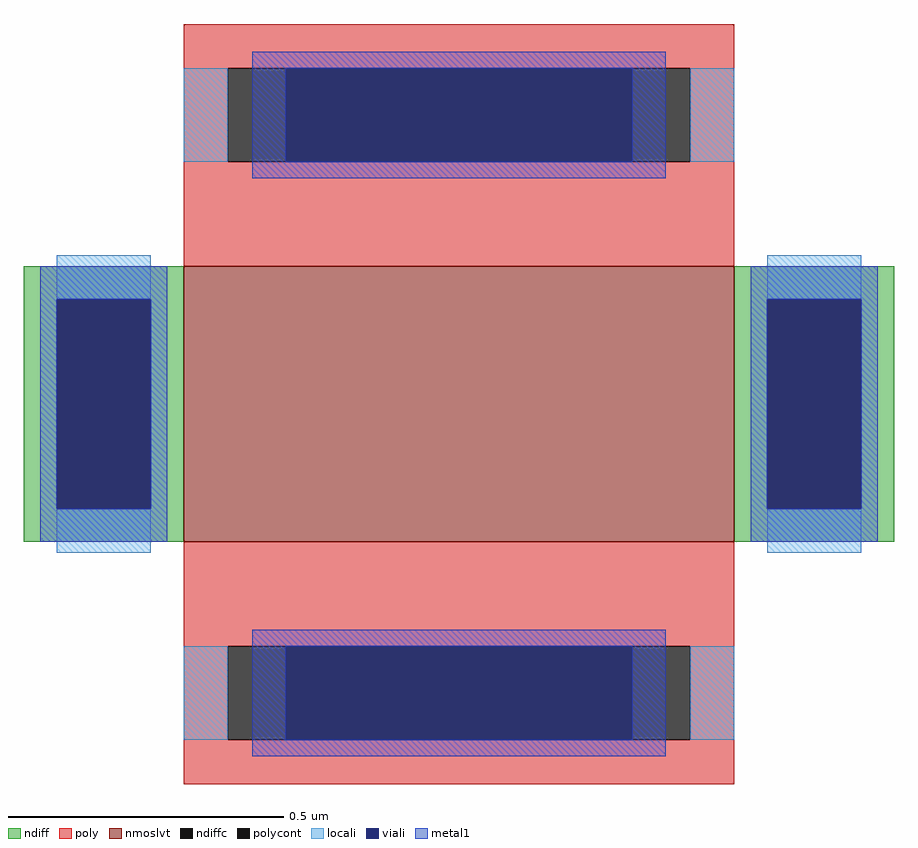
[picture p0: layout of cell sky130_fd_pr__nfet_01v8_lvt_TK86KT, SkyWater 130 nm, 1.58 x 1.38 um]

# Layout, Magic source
magic
tech sky130A
magscale 1 2
<< nmoslvt >>
rect -100 -50 100 50
<< ndiff >>
rect -158 38 -100 50
rect -158 -38 -146 38
rect -112 -38 -100 38
rect -158 -50 -100 -38
rect 100 38 158 50
rect 100 -38 112 38
rect 146 -38 158 38
rect 100 -50 158 -38
<< ndiffc >>
rect -146 -38 -112 38
rect 112 -38 146 38
<< poly >>
rect -100 122 100 138
rect -100 88 -84 122
rect 84 88 100 122
rect -100 50 100 88
rect -100 -88 100 -50
rect -100 -122 -84 -88
rect 84 -122 100 -88
rect -100 -138 100 -122
<< polycont >>
rect -84 88 84 122
rect -84 -122 84 -88
<< locali >>
rect -100 88 -84 122
rect 84 88 100 122
rect -146 38 -112 54
rect -146 -54 -112 -38
rect 112 38 146 54
rect 112 -54 146 -38
rect -100 -122 -84 -88
rect 84 -122 100 -88
<< viali >>
rect -63 88 63 122
rect -146 -38 -112 38
rect 112 -38 146 38
rect -63 -122 63 -88
<< metal1 >>
rect -75 122 75 128
rect -75 88 -63 122
rect 63 88 75 122
rect -75 82 75 88
rect -152 38 -106 50
rect -152 -38 -146 38
rect -112 -38 -106 38
rect -152 -50 -106 -38
rect 106 38 152 50
rect 106 -38 112 38
rect 146 -38 152 38
rect 106 -50 152 -38
rect -75 -88 75 -82
rect -75 -122 -63 -88
rect 63 -122 75 -88
rect -75 -128 75 -122
<< properties >>
string gencell sky130_fd_pr__nfet_01v8_lvt
string library sky130
string parameters w 0.5 l 1.0 m 1 nf 1 diffcov 100 polycov 100 guard 0 glc 1 grc 1 gtc 1 gbc 1 tbcov 100 rlcov 100 topc 1 botc 1 poverlap 0 doverlap 1 lmin 0.15 wmin 0.42 class mosfet compatible {sky130_fd_pr__nfet_01v8 sky130_fd_pr__nfet_01v8_lvt  sky130_fd_bs_flash__special_sonosfet_star  sky130_fd_pr__nfet_g5v0d10v5 sky130_fd_pr__nfet_05v0_nvt  sky130_fd_pr__nfet_03v3_nvt} full_metal 1 viasrc 100 viadrn 100 viagate 75 viagb 0 viagr 0 viagl 0 viagt 0
<< end >>
